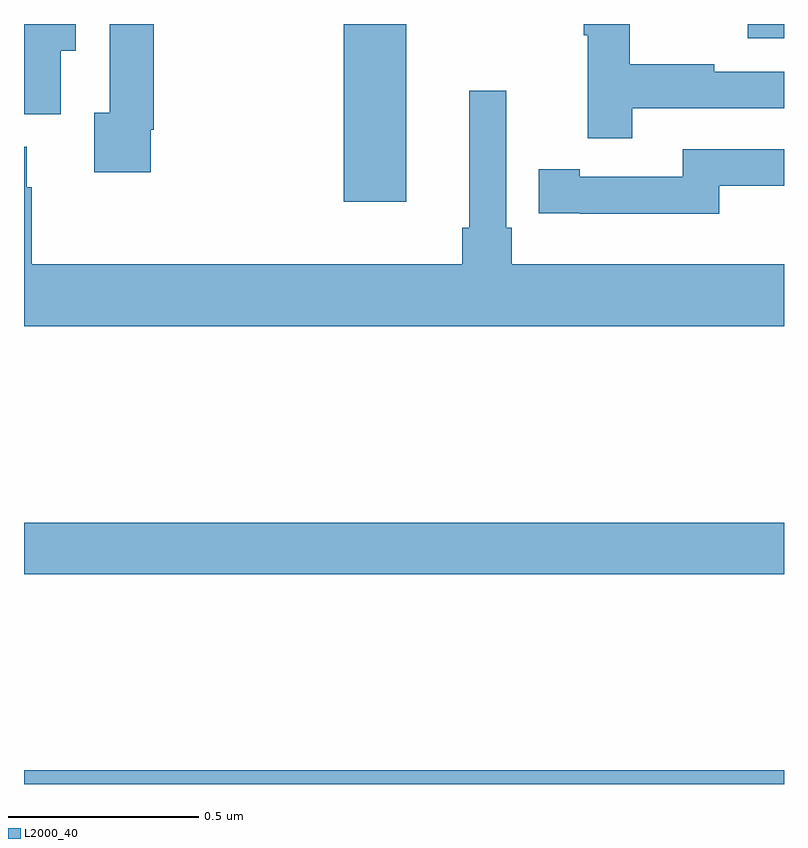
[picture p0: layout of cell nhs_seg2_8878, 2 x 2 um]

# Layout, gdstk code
import gdstk
lib = gdstk.Library(unit=1e-6, precision=1e-09)
def R(c, l, rs):  # rectangles x0, y0, x1, y1
    for r in rs: c.add(gdstk.rectangle(r[:2], r[2:], *l))
def P(c, l, *ps):  # polygons
    for p in ps: c.add(gdstk.Polygon(p, *l))
L2000_40 = (2000, 40)

nhs_seg2_8878 = lib.new_cell('nhs_seg2_8878')
R(nhs_seg2_8878, L2000_40, [(222,611.8,224,611.836), (222,612.352,224,612.488), (222.842,613.332,223.006,613.8), (223.905,613.763,224,613.8)])
P(nhs_seg2_8878, L2000_40, [(223.601,613.578),(224,613.578),(224,613.674),(223.817,613.674),(223.817,613.694),(223.594,613.694),(223.594,613.8),(223.473,613.8),(223.473,613.771),(223.484,613.771),(223.484,613.5),(223.601,613.5)],
  [(222.334,613.522),(222.341,613.522),(222.341,613.8),(222.225,613.8),(222.225,613.566),(222.185,613.566),(222.185,613.41),(222.334,613.41)],
  [(222.097,613.73),(222.136,613.73),(222.136,613.8),(222,613.8),(222,613.562),(222.097,613.562)],
  [(224,613.168),(223.283,613.168),(223.283,613.264),(223.269,613.264),(223.269,613.624),(223.172,613.624),(223.172,613.264),(223.153,613.264),(223.153,613.168),(222.02,613.168),(222.02,613.37),(222.007,613.37),(222.007,613.477),(222,613.477),(222,613.004),(224,613.004)],
  [(223.83,613.374),(224,613.374),(224,613.47),(223.734,613.47),(223.734,613.398),(223.462,613.398),(223.462,613.418),(223.354,613.418),(223.354,613.302),(223.462,613.302),(223.462,613.301),(223.83,613.301)])

lib.write_gds('nhs_seg2_8878.gds')
